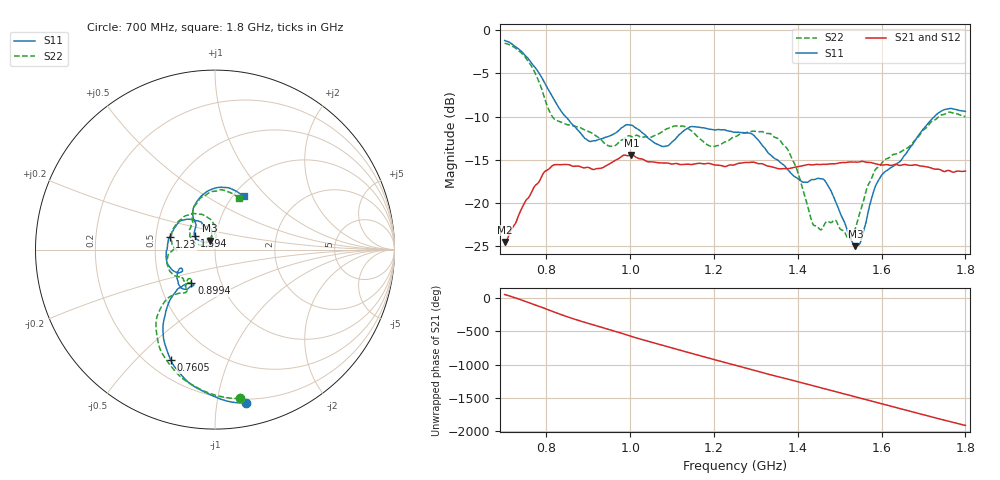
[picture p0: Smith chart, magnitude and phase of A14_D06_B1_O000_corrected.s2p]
! Created with skrf 1.9.0 (http://scikit-rf.org).
# Hz S RI R 50.0
!freq ReS11 ImS11 ReS21 ImS21 ReS12 ImS12 ReS22 ImS22
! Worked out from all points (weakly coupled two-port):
!   1601 points, 700 MHz to 1.8 GHz, reference 50 ohm
!   highest |S21| = -14.44 dB at 1.002 GHz (marker M1); lowest = -24.5 dB at 700 MHz (marker M2)
!   lowest |S11| = -25.0 dB at 1.537 GHz (marker M3), VSWR 1.12, Z = 47.2 + j4.71 ohm
!   |S11| at or under -10 dB: 845.7 MHz to 1.726 GHz (880.3 MHz wide, 68.5 % of centre)
!   |S22| runs from -24.2 to -1.5 dB; largest |S21 - S12| = 0.0034
!   S11 on the Smith chart (normalised r, x): 700 MHz: 0.17, -1.21; 760.5 MHz: 0.29, -0.64; 899.4 MHz: 0.72, -0.29; 1.23 GHz: 0.59, +0.09; 1.594 GHz: 0.79, +0.12; 1.8 GHz: 1.12, +0.75
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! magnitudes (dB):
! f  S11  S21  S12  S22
! 700 MHz  -1.2  -24.5  -24.3  -1.5
! 760.5 MHz  -3.6  -19.1  -19.0  -3.9
! 816.2 MHz  -7.9  -15.6  -15.7  -10.2
! 883.6 MHz  -12.0  -15.9  -15.8  -11.4
! 899.4 MHz  -12.8  -15.9  -15.9  -11.7
! 953 MHz  -12.2  -15.4  -15.4  -13.4
! 1.002 GHz  -11.0  -14.4  -14.5  -12.3
! 1.067 GHz  -13.3  -15.4  -15.3  -12.0
! 1.145 GHz  -11.2  -15.6  -15.6  -11.6
! 1.23 GHz  -11.6  -15.7  -15.7  -12.9
! 1.25 GHz  -11.8  -15.6  -15.5  -12.3
! 1.357 GHz  -15.2  -16.1  -16.0  -12.7
! 1.395 GHz  -17.0  -15.8  -15.8  -15.8
! 1.434 GHz  -17.3  -15.6  -15.6  -22.2
! 1.469 GHz  -17.7  -15.5  -15.5  -22.1
! 1.522 GHz  -23.7  -15.3  -15.3  -24.2
! 1.537 GHz  -25.0  -15.3  -15.3  -23.0
! 1.55 GHz  -24.4  -15.2  -15.2  -20.8
! 1.594 GHz  -17.2  -15.6  -15.5  -15.8
! 1.617 GHz  -16.1  -15.6  -15.6  -14.8
! 1.735 GHz  -9.6  -16.1  -16.1  -10.1
! 1.8 GHz  -9.4  -16.3  -16.3  -10.0
